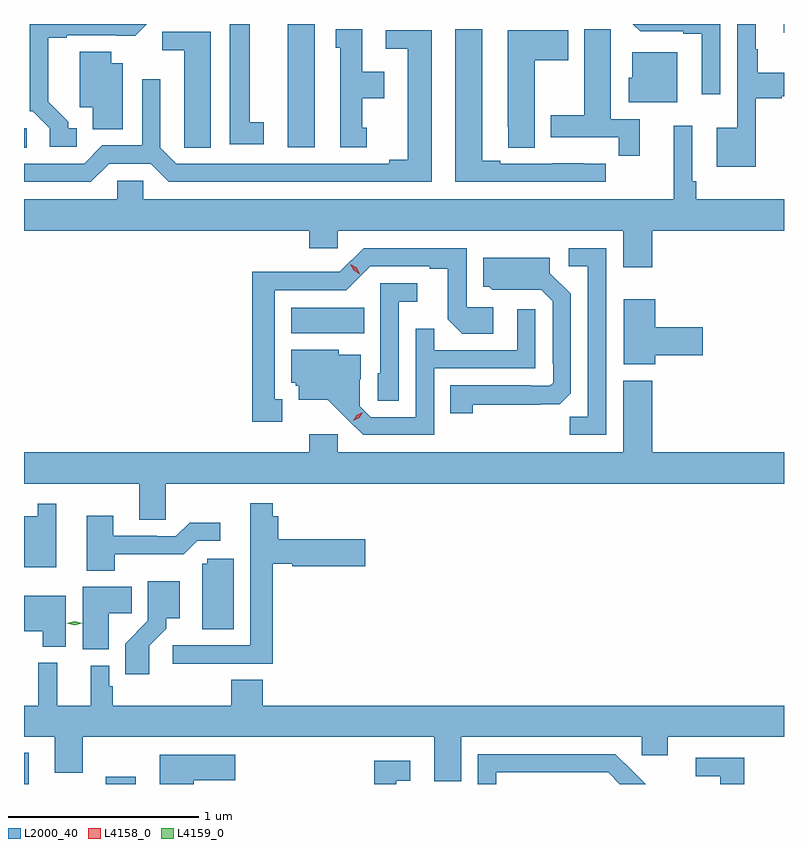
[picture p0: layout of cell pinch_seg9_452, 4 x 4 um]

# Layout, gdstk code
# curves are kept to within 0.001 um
import gdstk
lib = gdstk.Library(unit=1e-6, precision=1e-09)
def R(c, l, rs):  # rectangles x0, y0, x1, y1
    for r in rs: c.add(gdstk.rectangle(r[:2], r[2:], *l))
def P(c, l, *ps):  # polygons
    for p in ps: c.add(gdstk.Polygon(p, *l))
L2000_40 = (2000, 40)
L4158_0 = (4158, 0)
L4159_0 = (4159, 0)

pinch_seg9_452 = lib.new_cell('pinch_seg9_452')
R(pinch_seg9_452, L2000_40, [(264.503,1194.839,264.529,1195.003), (264.934,1194.839,265.09,1194.877), (265.91,1197.212,266.294,1197.346), (264.503,1198.189,264.517,1198.29), (265.892,1198.191,266.032,1198.839), (268.502,1198.794,268.503,1198.839)])
P(pinch_seg9_452, L2000_40, [(268.167,1198.839),(267.708,1198.839),(267.747,1198.8),(267.974,1198.8),(267.974,1198.788),(268.07,1198.788),(268.07,1198.47),(268.167,1198.47)],
  [(268.354,1198.448),(268.491,1198.448),(268.491,1198.46),(268.503,1198.46),(268.503,1198.582),(268.366,1198.582),(268.366,1198.706),(268.354,1198.706),(268.354,1198.839),(268.257,1198.839),(268.257,1198.294),(268.148,1198.294),(268.148,1198.088),(268.354,1198.088)],
  [(264.781,1198.29),(264.736,1198.29),(264.736,1198.325),(264.631,1198.43),(264.631,1198.767),(264.727,1198.767),(264.727,1198.779),(265.088,1198.778),(265.149,1198.839),(264.534,1198.839),(264.534,1198.38),(264.549,1198.38),(264.639,1198.29),(264.639,1198.194),(264.781,1198.194)],
  [(265.765,1198.322),(265.69,1198.322),(265.69,1198.839),(265.586,1198.839),(265.586,1198.206),(265.765,1198.206)],
  [(267.565,1198.104),(267.452,1198.104),(267.452,1198.105),(267.286,1198.105),(267.286,1198.104),(267.01,1198.104),(267.01,1198.119),(266.914,1198.119),(266.914,1198.811),(266.774,1198.811),(266.774,1198.008),(267.565,1198.008)],
  [(267.743,1198.338),(267.592,1198.338),(267.592,1198.7),(267.591,1198.7),(267.591,1198.811),(267.452,1198.811),(267.452,1198.359),(267.275,1198.359),(267.275,1198.242),(267.634,1198.242),(267.634,1198.146),(267.743,1198.146)],
  [(266.308,1198.293),(266.284,1198.293),(266.284,1198.448),(266.398,1198.448),(266.398,1198.588),(266.284,1198.588),(266.284,1198.811),(266.144,1198.811),(266.144,1198.713),(266.168,1198.713),(266.168,1198.191),(266.308,1198.191)],
  [(267.19,1198.648),(267.367,1198.648),(267.367,1198.807),(267.05,1198.807),(267.05,1198.297),(267.051,1198.297),(267.051,1198.189),(267.19,1198.189)],
  [(264.951,1198.104),(265.169,1198.104),(265.265,1198.008),(266.65,1198.008),(266.65,1198.806),(266.406,1198.806),(266.406,1198.71),(266.522,1198.71),(266.522,1198.124),(266.426,1198.124),(266.426,1198.104),(265.305,1198.104),(265.221,1198.188),(265.221,1198.549),(265.125,1198.549),(265.125,1198.2),(264.915,1198.2),(264.819,1198.104),(264.503,1198.104),(264.503,1198.008),(264.855,1198.008)],
  [(265.486,1198.797),(265.23,1198.797),(265.23,1198.7),(265.346,1198.7),(265.346,1198.297),(265.347,1198.297),(265.347,1198.189),(265.486,1198.189)],
  [(265.024,1198.633),(264.961,1198.633),(264.961,1198.694),(264.797,1198.694),(264.797,1198.4),(264.866,1198.4),(264.866,1198.285),(265.024,1198.285)],
  [(267.94,1198.69),(267.704,1198.69),(267.704,1198.557),(267.686,1198.557),(267.686,1198.427),(267.94,1198.427)],
  [(264.993,1198.014),(264.993,1197.916),(264.503,1197.916),(264.503,1197.752),(266.003,1197.752),(266.003,1197.659),(266.154,1197.659),(266.154,1197.752),(267.656,1197.752),(267.656,1197.558),(267.809,1197.558),(267.809,1197.752),(268.503,1197.752),(268.503,1197.916),(268.04,1197.916),(268.04,1198.012),(268.02,1198.012),(268.02,1198.303),(267.923,1198.303),(267.923,1197.916),(265.131,1197.916),(265.131,1198.014)],
  [(265.861,1196.865),(265.822,1196.865),(265.822,1197.438),(266.199,1197.438),(266.325,1197.564),(266.639,1197.564),(266.639,1197.552),(266.733,1197.552),(266.733,1197.284),(266.809,1197.208),(266.974,1197.208),(266.974,1197.348),(266.832,1197.348),(266.832,1197.66),(266.292,1197.66),(266.166,1197.534),(265.944,1197.534),(265.944,1197.536),(265.704,1197.536),(265.704,1196.745),(265.861,1196.745)],
  [(267.567,1197.66),(267.369,1197.66),(267.369,1197.564),(267.471,1197.564),(267.471,1196.771),(267.376,1196.771),(267.376,1196.676),(267.567,1196.676)],
  [(266.865,1196.836),(267.322,1196.837),(267.381,1196.896),(267.381,1197.418),(267.271,1197.528),(267.271,1197.61),(266.921,1197.61),(266.921,1197.456),(266.952,1197.456),(266.968,1197.44),(267.225,1197.441),(267.285,1197.381),(267.285,1197.052),(267.288,1197.052),(267.288,1196.952),(267.27,1196.934),(267.17,1196.934),(267.17,1196.937),(266.746,1196.937),(266.746,1196.79),(266.865,1196.79)],
  [(266.475,1197.377),(266.572,1197.377),(266.572,1197.474),(266.379,1197.474),(266.379,1197),(266.364,1197),(266.364,1196.857),(266.475,1196.857)],
  [(267.826,1197.095),(268.075,1197.095),(268.075,1197.242),(267.826,1197.242),(267.826,1197.391),(267.659,1197.391),(267.659,1197.047),(267.826,1197.047)],
  [(266.661,1197.027),(267.195,1197.027),(267.195,1197.337),(267.099,1197.337),(267.099,1197.123),(266.663,1197.123),(266.663,1197.236),(266.565,1197.236),(266.565,1196.769),(266.328,1196.769),(266.271,1196.826),(266.271,1196.968),(266.275,1196.968),(266.275,1197.097),(266.16,1197.097),(266.16,1197.124),(265.91,1197.124),(265.91,1196.952),(265.932,1196.952),(265.932,1196.934),(265.949,1196.934),(265.949,1196.861),(266.101,1196.861),(266.288,1196.676),(266.661,1196.676)],
  [(265.248,1196.42),(268.503,1196.42),(268.503,1196.584),(267.809,1196.584),(267.809,1196.962),(267.656,1196.962),(267.656,1196.584),(266.154,1196.584),(266.154,1196.68),(266.003,1196.68),(266.003,1196.584),(264.503,1196.584),(264.503,1196.42),(265.109,1196.42),(265.109,1196.23),(265.248,1196.23)],
  [(265.511,1195.473),(265.811,1195.473),(265.811,1195.997),(265.914,1195.997),(265.914,1195.985),(266.299,1195.985),(266.299,1196.127),(265.841,1196.127),(265.841,1196.248),(265.811,1196.248),(265.811,1196.317),(265.695,1196.317),(265.695,1195.569),(265.287,1195.569),(265.287,1195.471),(265.511,1195.471)],
  [(264.672,1196.314),(264.576,1196.314),(264.576,1196.248),(264.503,1196.248),(264.503,1195.979),(264.672,1195.979)],
  [(264.981,1196.048),(265.345,1196.048),(265.416,1196.118),(265.537,1196.118),(265.537,1196.215),(265.375,1196.215),(265.302,1196.142),(265.202,1196.142),(265.202,1196.145),(264.973,1196.145),(264.973,1196.251),(264.833,1196.251),(264.833,1195.961),(264.981,1195.961)],
  [(265.606,1196.025),(265.467,1196.025),(265.467,1195.998),(265.442,1195.998),(265.442,1195.654),(265.606,1195.654)],
  [(265.162,1195.567),(265.252,1195.657),(265.252,1195.712),(265.324,1195.712),(265.324,1195.906),(265.155,1195.906),(265.155,1195.697),(265.036,1195.578),(265.036,1195.416),(265.162,1195.416)],
  [(264.949,1195.738),(265.07,1195.738),(265.07,1195.876),(264.812,1195.876),(264.812,1195.547),(264.949,1195.547)],
  [(264.724,1195.831),(264.503,1195.831),(264.503,1195.643),(264.602,1195.643),(264.602,1195.562),(264.724,1195.562)],
  [(266.803,1195.088),(267.753,1195.088),(267.753,1194.99),(267.892,1194.99),(267.892,1195.088),(268.503,1195.088),(268.503,1195.252),(265.76,1195.252),(265.76,1195.388),(265.595,1195.388),(265.595,1195.252),(264.971,1195.252),(264.971,1195.353),(264.951,1195.353),(264.951,1195.462),(264.854,1195.462),(264.854,1195.252),(264.677,1195.252),(264.677,1195.477),(264.578,1195.477),(264.578,1195.252),(264.503,1195.252),(264.503,1195.088),(264.665,1195.088),(264.665,1194.898),(264.813,1194.898),(264.813,1195.088),(266.663,1195.088),(266.663,1194.853),(266.803,1194.853)],
  [(266.989,1194.9),(267.577,1194.9),(267.638,1194.839),(267.775,1194.839),(267.708,1194.906),(267.707,1194.905),(267.616,1194.996),(266.892,1194.996),(266.892,1194.839),(266.989,1194.839)],
  [(265.397,1194.86),(265.615,1194.86),(265.615,1194.994),(265.217,1194.994),(265.217,1194.839),(265.397,1194.839)],
  [(268.295,1194.978),(268.038,1194.978),(268.038,1194.881),(268.167,1194.881),(268.167,1194.839),(268.295,1194.839)],
  [(266.463,1194.855),(266.536,1194.855),(266.536,1194.961),(266.347,1194.961),(266.347,1194.839),(266.463,1194.839)])
P(pinch_seg9_452, L4158_0, [(266.236,1196.751),(266.236,1196.751),(266.254,1196.781),(266.285,1196.796),(266.285,1196.796),(266.285,1196.796),(266.267,1196.766),(266.237,1196.751)],
  [(266.27,1197.522),(266.238,1197.542),(266.221,1197.575),(266.221,1197.575),(266.221,1197.575),(266.253,1197.555),(266.27,1197.522),(266.27,1197.522)])
P(pinch_seg9_452, L4159_0, [(264.769,1195.675),(264.728,1195.685),(264.728,1195.685),(264.728,1195.686),(264.769,1195.695),(264.809,1195.686),(264.809,1195.685),(264.809,1195.685)])

lib.write_gds('pinch_seg9_452.gds')
